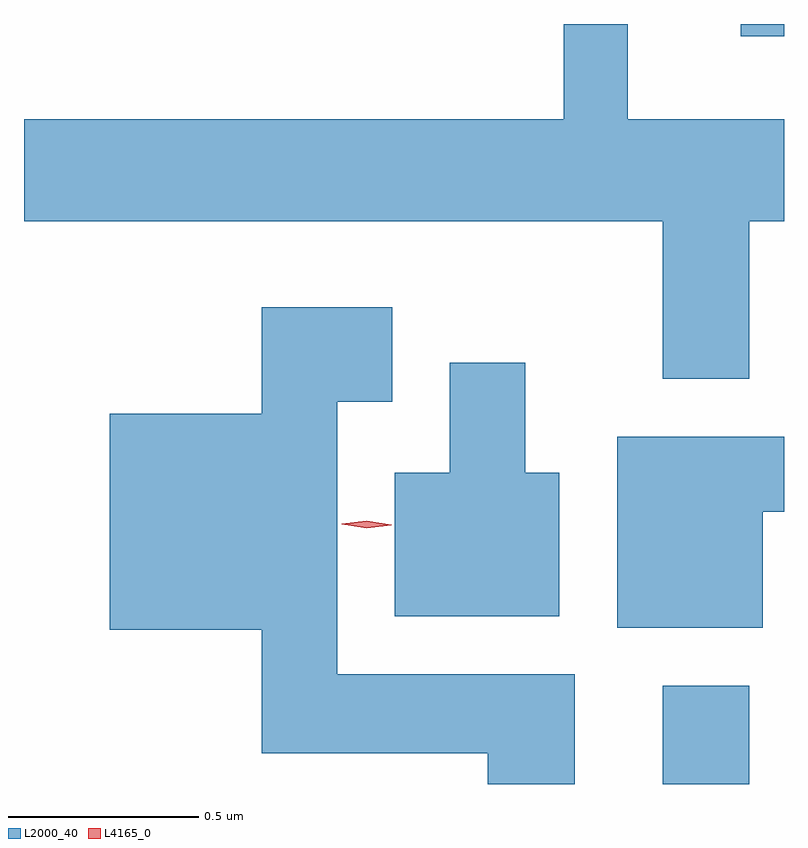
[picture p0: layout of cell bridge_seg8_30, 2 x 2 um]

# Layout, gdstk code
import gdstk
lib = gdstk.Library(unit=1e-6, precision=1e-09)
def R(c, l, rs):  # rectangles x0, y0, x1, y1
    for r in rs: c.add(gdstk.rectangle(r[:2], r[2:], *l))
def P(c, l, *ps):  # polygons
    for p in ps: c.add(gdstk.Polygon(p, *l))
L2000_40 = (2000, 40)
L4165_0 = (4165, 0)

bridge_seg8_30 = lib.new_cell('bridge_seg8_30')
R(bridge_seg8_30, L2000_40, [(1760.731,1910.415,1760.959,1910.674), (1760.936,1912.383,1761.05,1912.415)])
P(bridge_seg8_30, L2000_40, [(1760.959,1911.896),(1761.05,1911.896),(1761.05,1912.164),(1760.639,1912.164),(1760.639,1912.415),(1760.471,1912.415),(1760.471,1912.164),(1759.05,1912.164),(1759.05,1911.896),(1760.731,1911.896),(1760.731,1911.481),(1760.959,1911.481)],
  [(1760.499,1910.704),(1759.874,1910.704),(1759.874,1911.421),(1760.019,1911.421),(1760.019,1911.669),(1759.676,1911.669),(1759.676,1911.389),(1759.276,1911.389),(1759.276,1910.821),(1759.676,1910.821),(1759.676,1910.496),(1760.271,1910.496),(1760.271,1910.415),(1760.499,1910.415)],
  [(1760.459,1911.234),(1760.369,1911.234),(1760.369,1911.524),(1760.171,1911.524),(1760.171,1911.234),(1760.026,1911.234),(1760.026,1910.856),(1760.459,1910.856)],
  [(1760.994,1911.131),(1761.05,1911.131),(1761.05,1911.329),(1760.611,1911.329),(1760.611,1910.826),(1760.994,1910.826)])
P(bridge_seg8_30, L4165_0, [(1759.952,1911.088),(1759.886,1911.099),(1759.886,1911.099),(1759.886,1911.1),(1759.952,1911.108),(1760.017,1911.097),(1760.018,1911.097),(1760.017,1911.096)])

lib.write_gds('bridge_seg8_30.gds')
